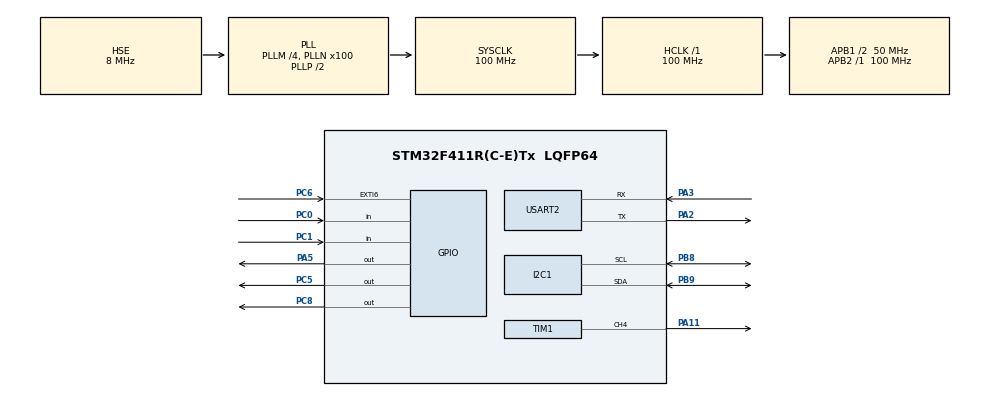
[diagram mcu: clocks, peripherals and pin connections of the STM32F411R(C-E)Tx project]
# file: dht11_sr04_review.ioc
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Mcu.Family=STM32F4
Mcu.Name=STM32F411R(C-E)Tx
Mcu.Package=LQFP64
NVIC.EXTI9_5_IRQn=true\:0\:0\:false\:false\:true\:true\:true\:true
NVIC.PriorityGroup=NVIC_PRIORITYGROUP_4
NVIC.TIM1_UP_TIM10_IRQn=true\:0\:0\:false\:false\:true\:true\:true\:true
PA11.Signal=S_TIM1_CH4
PA13.Mode=Serial_Wire
PA13.Signal=SYS_JTMS-SWDIO
PA14.Mode=Serial_Wire
PA14.Signal=SYS_JTCK-SWCLK
PA2.Mode=Asynchronous
PA2.Signal=USART2_TX
PA3.Mode=Asynchronous
PA3.Signal=USART2_RX
PA5.Signal=GPIO_Output
PB8.Mode=I2C
PB8.Signal=I2C1_SCL
PB9.Mode=I2C
PB9.Signal=I2C1_SDA
PC0.Signal=GPIO_Input
PC1.Signal=GPIO_Input
PC5.Signal=GPIO_Output
PC6.GPIO_ModeDefaultEXTI=GPIO_MODE_IT_RISING_FALLING
PC6.Signal=GPXTI6
PC8.Signal=GPIO_Output
PH0\ -\ OSC_IN.Mode=HSE-External-Oscillator
PH0\ -\ OSC_IN.Signal=RCC_OSC_IN
PH1\ -\ OSC_OUT.Mode=HSE-External-Oscillator
PH1\ -\ OSC_OUT.Signal=RCC_OSC_OUT
ProjectManager.HeapSize=0x200
ProjectManager.StackSize=0x400
ProjectManager.TargetToolchain=STM32CubeIDE
RCC.48MHZClocksFreq_Value=50000000
RCC.AHBFreq_Value=100000000
RCC.APB1CLKDivider=RCC_HCLK_DIV2
RCC.APB1Freq_Value=50000000
RCC.APB1TimFreq_Value=100000000
RCC.APB2Freq_Value=100000000
RCC.APB2TimFreq_Value=100000000
RCC.CortexFreq_Value=100000000
RCC.HCLKFreq_Value=100000000
RCC.HSE_VALUE=8000000
RCC.HSI_VALUE=16000000
RCC.LSE_VALUE=32768
RCC.PLLM=4
RCC.PLLN=100
RCC.PLLSourceVirtual=RCC_PLLSOURCE_HSE
RCC.SYSCLKFreq_VALUE=100000000
RCC.SYSCLKSource=RCC_SYSCLKSOURCE_PLLCLK
RCC.VCOOutputFreq_Value=200000000
SH.S_TIM1_CH4.0=TIM1_CH4,PWM Generation4 CH4
TIM1.AutoReloadPreload=TIM_AUTORELOAD_PRELOAD_ENABLE
TIM1.Channel-PWM\ Generation4\ CH4=TIM_CHANNEL_4
TIM1.Prescaler=100-1
TIM10.Prescaler=100 -1
USART2.VirtualMode=VM_ASYNC
VP_TIM10_VS_ClockSourceINT.Mode=Enable_Timer
VP_TIM1_VS_ClockSourceINT.Mode=Internal
board=custom

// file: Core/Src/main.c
/* USER CODE BEGIN Header */
/**
 ******************************************************************************
 * @file           : main.c
 * @brief          : Main program body
 ******************************************************************************
 * @attention
 *
 * Copyright (c) 2026 STMicroelectronics.
 * All rights reserved.
 *
 * This software is licensed under terms that can be found in the LICENSE file
 * in the root directory of this software component.
 * If no LICENSE file comes with this software, it is provided AS-IS.
 *
 ******************************************************************************
 */
/* USER CODE END Header */
#include "main.h"

/* USER CODE BEGIN Includes */
#include "ap/ap_main.h"
#include <stdio.h>
#include "driver/button/button.h"
/* USER CODE END Includes */

I2C_HandleTypeDef hi2c1;

TIM_HandleTypeDef htim1;
TIM_HandleTypeDef htim10;

UART_HandleTypeDef huart2;

void SystemClock_Config(void);
static void MX_GPIO_Init(void);
static void MX_USART2_UART_Init(void);
static void MX_I2C1_Init(void);
static void MX_TIM10_Init(void);
static void MX_TIM1_Init(void);

/* USER CODE BEGIN 0 */
int __io_putchar(int ch) {
	// print문이 어디를 통해서 나갈지 결정
	HAL_UART_Transmit(&huart2, (uint8_t*) &ch, 1, HAL_MAX_DELAY);
	return ch;
}

typedef enum {
	STATE_INIT, STATE_PERIOD_INC, STATE_DYTY_INC
} sound_state_t;

uint16_t prevDuty = 0;
uint16_t prevArr = 50;

void incPeriod() {
	// 20hz: 50000분주 20khz: 50분주
	static uint32_t prevTime = 0;

	__HAL_TIM_SET_AUTORELOAD(&htim1, prevArr - 1);
	__HAL_TIM_SET_COMPARE(&htim1, TIM_CHANNEL_4, prevArr / 2 - 1); // 50% 듀티비의 신호 생성

	if (HAL_GetTick() - prevTime >= 1) {

		if (prevArr < 50000) {
			prevArr += 50;
		} else {
			prevArr = 50;
		}
		prevTime = HAL_GetTick();
	}
}

void incDuty() {

	static uint32_t prevTime = 10;

	__HAL_TIM_SET_AUTORELOAD(&htim1, 1000 - 1); // 1khz 주파수 생성 (preload로 1m, arr로 1k)
	uint32_t arr = __HAL_TIM_GET_AUTORELOAD(&htim1);
	__HAL_TIM_SET_COMPARE(&htim1, TIM_CHANNEL_4, prevDuty); // 50% 듀티비의 신호 생성

	if (HAL_GetTick() - prevTime >= 1) {

		if (prevDuty < arr * 90 / 100) {
			prevDuty += arr *10 / 100;
		} else {
			prevDuty = 0;
		}
		prevTime = HAL_GetTick();
	}

}

/* USER CODE END 0 */

int main(void) {

	/* MCU Configuration--------------------------------------------------------*/

	/* Reset of all peripherals, Initializes the Flash interface and the Systick. */
	HAL_Init();

	/* Configure the system clock */
	SystemClock_Config();

	/* Initialize all configured peripherals */
	MX_GPIO_Init();
	MX_USART2_UART_Init();
	MX_I2C1_Init();
	MX_TIM10_Init();
	MX_TIM1_Init();
	/* USER CODE BEGIN 2 */
	uint32_t arr;
	__HAL_TIM_SET_AUTORELOAD(&htim1, 1000 - 1); // 1khz 주파수 생성 (preload로 1m, arr로 1k)

	arr = __HAL_TIM_GET_AUTORELOAD(&htim1);
	__HAL_TIM_SET_COMPARE(&htim1, TIM_CHANNEL_4, arr / 2 - 1); // 50% 듀티비의 신호 생성

	HAL_TIM_PWM_Start(&htim1, TIM_CHANNEL_4);

	button_t btn_period;
	button_t btn_duty;
	sound_state_t state;

	button_init(&btn_period, GPIOC, GPIO_PIN_0);
	button_init(&btn_duty, GPIOC, GPIO_PIN_1);

	/* USER CODE END 2 */

	/* Infinite loop */
	/* USER CODE BEGIN WHILE */
	while (1) {
	  ap_main();

//		if (button_getState(&btn_period) == ACT_RELEASE) {
//			prevArr = 50;
//			state = STATE_PERIOD_INC;
//		} else if (button_getState(&btn_duty) == ACT_RELEASE) {
//			prevDuty = 10;
//			state = STATE_DYTY_INC;
//		}
//
//		switch (state) {
//		case STATE_PERIOD_INC:
//			incPeriod();
//			break;
//		case STATE_DYTY_INC:
//			incDuty();
//		default:
//			break;
//		}

		/* USER CODE END WHILE */

	}
}

void SystemClock_Config(void) {
	RCC_OscInitTypeDef RCC_OscInitStruct = { 0 };
	RCC_ClkInitTypeDef RCC_ClkInitStruct = { 0 };

	/** Configure the main internal regulator output voltage
	 */
	__HAL_RCC_PWR_CLK_ENABLE();
	__HAL_PWR_VOLTAGESCALING_CONFIG(PWR_REGULATOR_VOLTAGE_SCALE1);

	/** Initializes the RCC Oscillators according to the specified parameters
	 * in the RCC_OscInitTypeDef structure.
	 */
	RCC_OscInitStruct.OscillatorType = RCC_OSCILLATORTYPE_HSE;
	RCC_OscInitStruct.HSEState = RCC_HSE_ON;
	RCC_OscInitStruct.PLL.PLLState = RCC_PLL_ON;
	RCC_OscInitStruct.PLL.PLLSource = RCC_PLLSOURCE_HSE;
	RCC_OscInitStruct.PLL.PLLM = 4;
	RCC_OscInitStruct.PLL.PLLN = 100;
	RCC_OscInitStruct.PLL.PLLP = RCC_PLLP_DIV2;
	RCC_OscInitStruct.PLL.PLLQ = 4;
	if (HAL_RCC_OscConfig(&RCC_OscInitStruct) != HAL_OK) {
		Error_Handler();
	}

	/** Initializes the CPU, AHB and APB buses clocks
	 */
	RCC_ClkInitStruct.ClockType = RCC_CLOCKTYPE_HCLK | RCC_CLOCKTYPE_SYSCLK
			| RCC_CLOCKTYPE_PCLK1 | RCC_CLOCKTYPE_PCLK2;
	RCC_ClkInitStruct.SYSCLKSource = RCC_SYSCLKSOURCE_PLLCLK;
	RCC_ClkInitStruct.AHBCLKDivider = RCC_SYSCLK_DIV1;
	RCC_ClkInitStruct.APB1CLKDivider = RCC_HCLK_DIV2;
	RCC_ClkInitStruct.APB2CLKDivider = RCC_HCLK_DIV1;

	if (HAL_RCC_ClockConfig(&RCC_ClkInitStruct, FLASH_LATENCY_3) != HAL_OK) {
		Error_Handler();
	}
}

static void MX_I2C1_Init(void) {

	hi2c1.Instance = I2C1;
	hi2c1.Init.ClockSpeed = 100000;
	hi2c1.Init.DutyCycle = I2C_DUTYCYCLE_2;
	hi2c1.Init.OwnAddress1 = 0;
	hi2c1.Init.AddressingMode = I2C_ADDRESSINGMODE_7BIT;
	hi2c1.Init.DualAddressMode = I2C_DUALADDRESS_DISABLE;
	hi2c1.Init.OwnAddress2 = 0;
	hi2c1.Init.GeneralCallMode = I2C_GENERALCALL_DISABLE;
	hi2c1.Init.NoStretchMode = I2C_NOSTRETCH_DISABLE;
	if (HAL_I2C_Init(&hi2c1) != HAL_OK) {
		Error_Handler();
	}

}

static void MX_TIM1_Init(void) {

	TIM_ClockConfigTypeDef sClockSourceConfig = { 0 };
	TIM_MasterConfigTypeDef sMasterConfig = { 0 };
	TIM_OC_InitTypeDef sConfigOC = { 0 };
	TIM_BreakDeadTimeConfigTypeDef sBreakDeadTimeConfig = { 0 };

	htim1.Instance = TIM1;
	htim1.Init.Prescaler = 100 - 1;
	htim1.Init.CounterMode = TIM_COUNTERMODE_UP;
	htim1.Init.Period = 65535;
	htim1.Init.ClockDivision = TIM_CLOCKDIVISION_DIV1;
	htim1.Init.RepetitionCounter = 0;
	htim1.Init.AutoReloadPreload = TIM_AUTORELOAD_PRELOAD_ENABLE;
	if (HAL_TIM_Base_Init(&htim1) != HAL_OK) {
		Error_Handler();
	}
	sClockSourceConfig.ClockSource = TIM_CLOCKSOURCE_INTERNAL;
	if (HAL_TIM_ConfigClockSource(&htim1, &sClockSourceConfig) != HAL_OK) {
		Error_Handler();
	}
	if (HAL_TIM_PWM_Init(&htim1) != HAL_OK) {
		Error_Handler();
	}
	sMasterConfig.MasterOutputTrigger = TIM_TRGO_RESET;
	sMasterConfig.MasterSlaveMode = TIM_MASTERSLAVEMODE_DISABLE;
	if (HAL_TIMEx_MasterConfigSynchronization(&htim1, &sMasterConfig)
			!= HAL_OK) {
		Error_Handler();
	}
	sConfigOC.OCMode = TIM_OCMODE_PWM1;
	sConfigOC.Pulse = 0;
	sConfigOC.OCPolarity = TIM_OCPOLARITY_HIGH;
	sConfigOC.OCFastMode = TIM_OCFAST_DISABLE;
	sConfigOC.OCIdleState = TIM_OCIDLESTATE_RESET;
	sConfigOC.OCNIdleState = TIM_OCNIDLESTATE_RESET;
	if (HAL_TIM_PWM_ConfigChannel(&htim1, &sConfigOC, TIM_CHANNEL_4)
			!= HAL_OK) {
		Error_Handler();
	}
	sBreakDeadTimeConfig.OffStateRunMode = TIM_OSSR_DISABLE;
	sBreakDeadTimeConfig.OffStateIDLEMode = TIM_OSSI_DISABLE;
	sBreakDeadTimeConfig.LockLevel = TIM_LOCKLEVEL_OFF;
	sBreakDeadTimeConfig.DeadTime = 0;
	sBreakDeadTimeConfig.BreakState = TIM_BREAK_DISABLE;
	sBreakDeadTimeConfig.BreakPolarity = TIM_BREAKPOLARITY_HIGH;
	sBreakDeadTimeConfig.AutomaticOutput = TIM_AUTOMATICOUTPUT_DISABLE;
	if (HAL_TIMEx_ConfigBreakDeadTime(&htim1, &sBreakDeadTimeConfig)
			!= HAL_OK) {
		Error_Handler();
	}
	HAL_TIM_MspPostInit(&htim1);

}

static void MX_TIM10_Init(void) {

	htim10.Instance = TIM10;
	htim10.Init.Prescaler = 100 - 1;
	htim10.Init.CounterMode = TIM_COUNTERMODE_UP;
	htim10.Init.Period = 65535;
	htim10.Init.ClockDivision = TIM_CLOCKDIVISION_DIV1;
	htim10.Init.AutoReloadPreload = TIM_AUTORELOAD_PRELOAD_DISABLE;
	if (HAL_TIM_Base_Init(&htim10) != HAL_OK) {
		Error_Handler();
	}

}

static void MX_USART2_UART_Init(void) {

	huart2.Instance = USART2;
	huart2.Init.BaudRate = 115200;
	huart2.Init.WordLength = UART_WORDLENGTH_8B;
	huart2.Init.StopBits = UART_STOPBITS_1;
	huart2.Init.Parity = UART_PARITY_NONE;
	huart2.Init.Mode = UART_MODE_TX_RX;
	huart2.Init.HwFlowCtl = UART_HWCONTROL_NONE;
	huart2.Init.OverSampling = UART_OVERSAMPLING_16;
	if (HAL_UART_Init(&huart2) != HAL_OK) {
		Error_Handler();
	}

}

static void MX_GPIO_Init(void) {
	GPIO_InitTypeDef GPIO_InitStruct = { 0 };

	/* GPIO Ports Clock Enable */
	__HAL_RCC_GPIOH_CLK_ENABLE();
	__HAL_RCC_GPIOC_CLK_ENABLE();
	__HAL_RCC_GPIOA_CLK_ENABLE();
	__HAL_RCC_GPIOB_CLK_ENABLE();

	/*Configure GPIO pin Output Level */
	HAL_GPIO_WritePin(GPIOA, GPIO_PIN_5, GPIO_PIN_RESET);

	/*Configure GPIO pin Output Level */
	HAL_GPIO_WritePin(GPIOC, GPIO_PIN_5 | GPIO_PIN_8, GPIO_PIN_RESET);

	/*Configure GPIO pins : PC0 PC1 */
	GPIO_InitStruct.Pin = GPIO_PIN_0 | GPIO_PIN_1;
	GPIO_InitStruct.Mode = GPIO_MODE_INPUT;
	GPIO_InitStruct.Pull = GPIO_NOPULL;
	HAL_GPIO_Init(GPIOC, &GPIO_InitStruct);

	/*Configure GPIO pin : PA5 */
	GPIO_InitStruct.Pin = GPIO_PIN_5;
	GPIO_InitStruct.Mode = GPIO_MODE_OUTPUT_PP;
	GPIO_InitStruct.Pull = GPIO_NOPULL;
	GPIO_InitStruct.Speed = GPIO_SPEED_FREQ_LOW;
	HAL_GPIO_Init(GPIOA, &GPIO_InitStruct);

	/*Configure GPIO pins : PC5 PC8 */
	GPIO_InitStruct.Pin = GPIO_PIN_5 | GPIO_PIN_8;
	GPIO_InitStruct.Mode = GPIO_MODE_OUTPUT_PP;
	GPIO_InitStruct.Pull = GPIO_NOPULL;
	GPIO_InitStruct.Speed = GPIO_SPEED_FREQ_LOW;
	HAL_GPIO_Init(GPIOC, &GPIO_InitStruct);

	/*Configure GPIO pin : PC6 */
	GPIO_InitStruct.Pin = GPIO_PIN_6;
	GPIO_InitStruct.Mode = GPIO_MODE_IT_RISING_FALLING;
	GPIO_InitStruct.Pull = GPIO_NOPULL;
	HAL_GPIO_Init(GPIOC, &GPIO_InitStruct);

	/* EXTI interrupt init*/
	HAL_NVIC_SetPriority(EXTI9_5_IRQn, 0, 0);
	HAL_NVIC_EnableIRQ(EXTI9_5_IRQn);

}

void Error_Handler(void) {
	__disable_irq();
	while (1) {
	}
}
